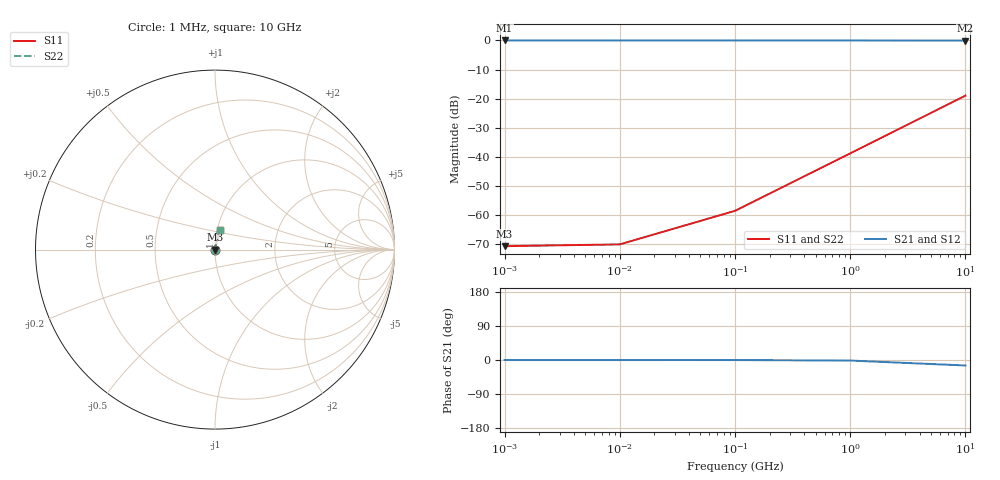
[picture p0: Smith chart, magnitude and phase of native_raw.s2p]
! Sonnet Data File
! From: em Version : 18.53-Lite
! From Project: project
! Data is NOT De-embedded
! Data File Written: 10/07/2026 06:27:28
!< HDATE 10/07/2026 06:27:28
!< MDATE 10/07/2026 06:27:28
# GHZ S RI R 50.00000
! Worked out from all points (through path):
!   5 points, 1 MHz to 10 GHz, reference 50 ohm
!   highest |S21| = 0.00 dB at 1 MHz (marker M1); lowest = -0.1 dB at 10 GHz (marker M2)
!   lowest |S11| = -70.7 dB at 1 MHz (marker M3), VSWR 1.00, Z = 50 + j0.00116 ohm
!   |S11| at or under -10 dB: start of sweep to end of sweep
!   |S22| runs from -70.7 to -19.0 dB; largest |S21 - S12| = 8.1e-13
0.001  0.000293 1.16e-05  0.9997 -2.55e-05  0.9997 -2.55e-05  0.000293 1.16e-05
0.01  0.000293 0.000115  0.9997 -0.000254  0.9997 -0.000254  0.000293 0.000115
0.1  0.000296 0.00115  0.9997 -0.00254  0.9997 -0.00254  0.000296 0.00115
1  0.000593 0.0115  0.9993 -0.0254  0.9993 -0.0254  0.000593 0.0115
10  0.0288 0.109  0.9614 -0.2482  0.9614 -0.2482  0.0288 0.109
